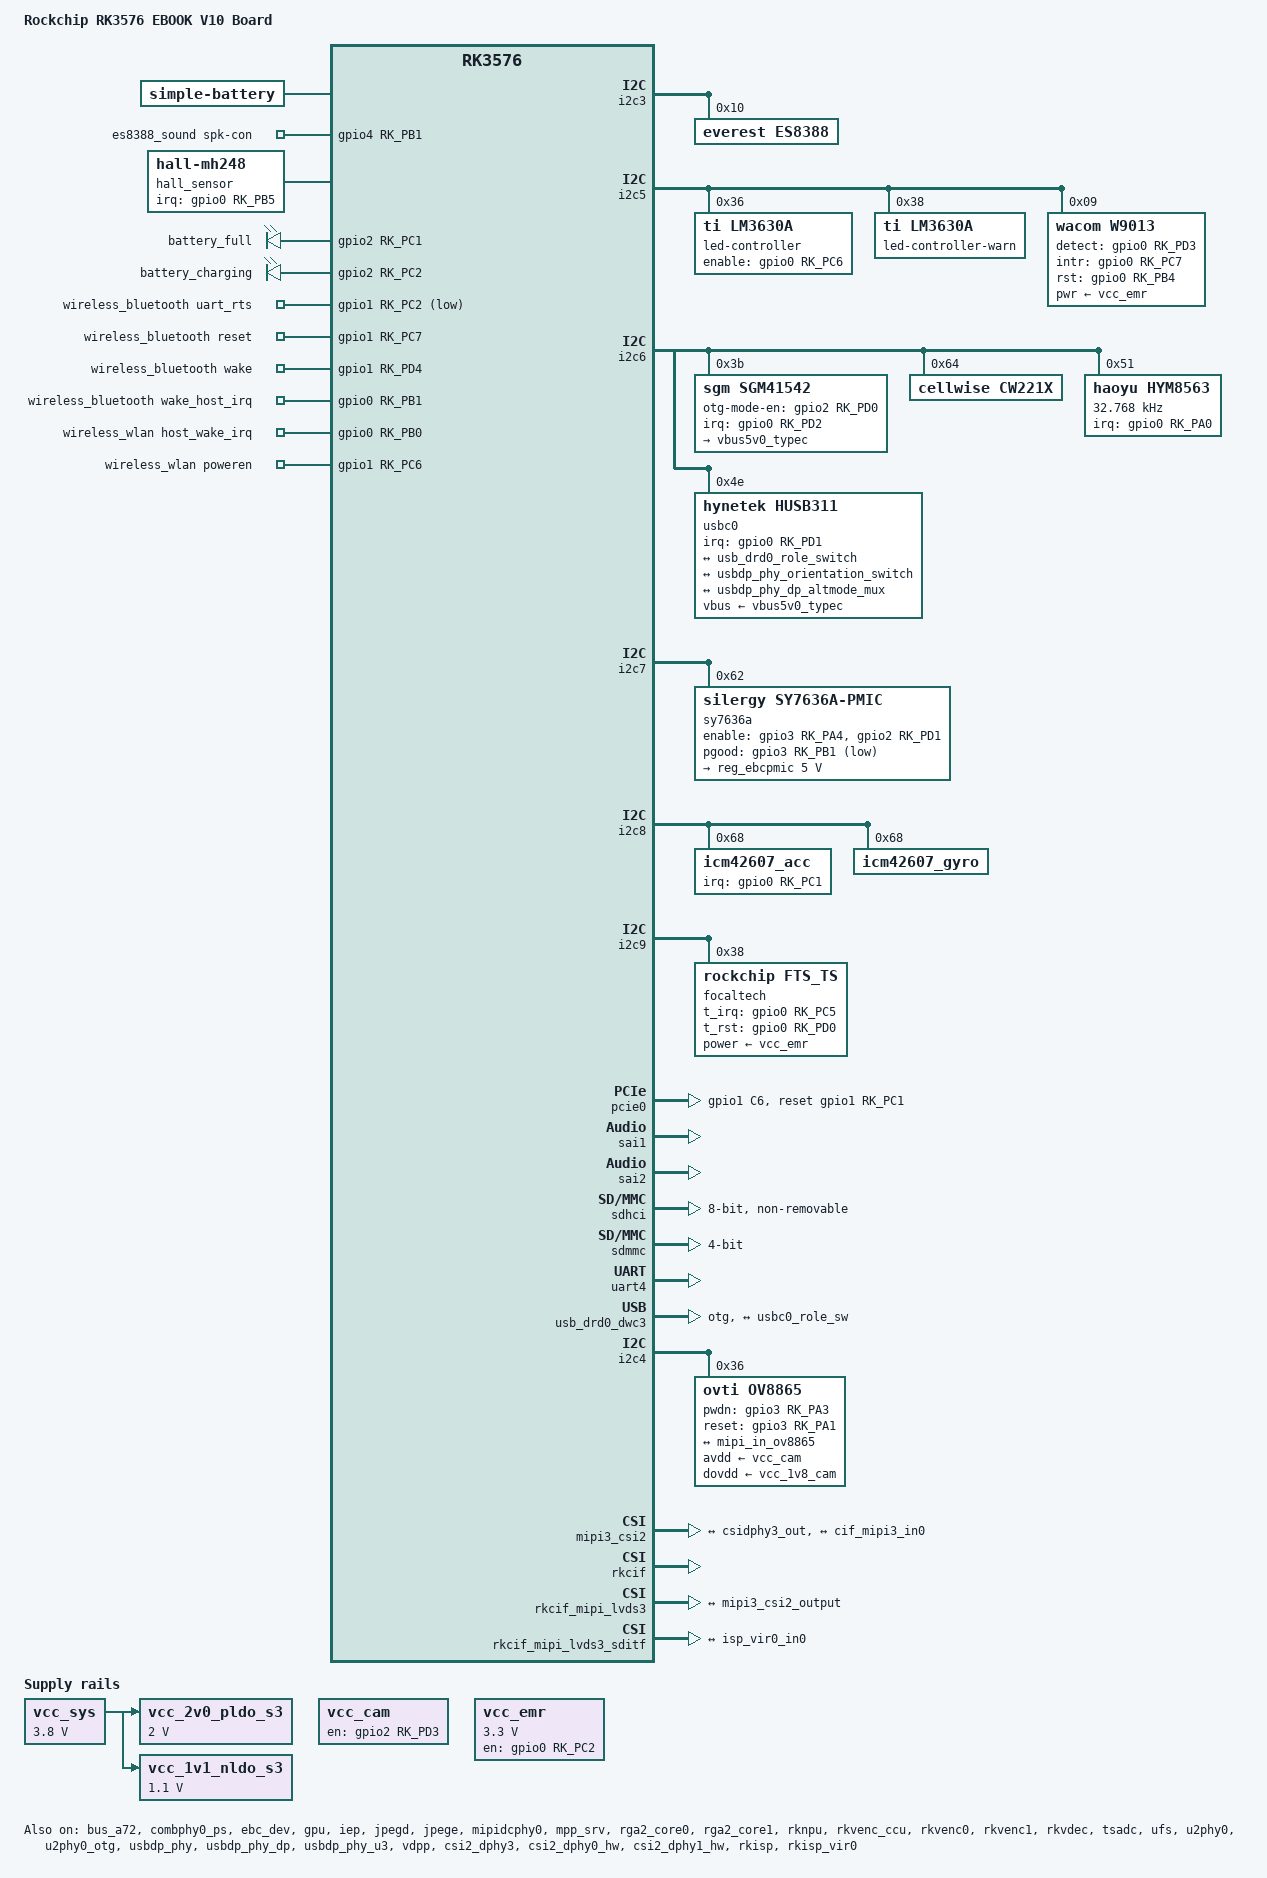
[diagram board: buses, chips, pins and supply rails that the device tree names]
// SPDX-License-Identifier: (GPL-2.0+ OR MIT)
/*
 * Copyright (c) 2024 Rockchip Electronics Co., Ltd.
 *
 */

/dts-v1/;

#include <dt-bindings/gpio/gpio.h>
#include <dt-bindings/pwm/pwm.h>
#include <dt-bindings/pinctrl/rockchip.h>
#include <dt-bindings/input/rk-input.h>
#include <dt-bindings/display/drm_mipi_dsi.h>
#include <dt-bindings/display/rockchip_vop.h>
#include <dt-bindings/sensor-dev.h>
#include <dt-bindings/usb/pd.h>
#include "rk3576.dtsi"
#include "rk3576-android.dtsi"
#include "rk3576-eink.dtsi"

/ {
	model = "Rockchip RK3576 EBOOK V10 Board";
	compatible = "rockchip,rk3576-ebook-v10", "rockchip,rk3576";

	bat: battery {
		compatible = "simple-battery";
		charge-full-design-microamp-hours = <8000000>;
		precharge-current-microamp = <180000>;
		precharge-upper-limit-microvolt = <3600000>;
		charge-term-current-microamp = <300000>;
		constant-charge-current-max-microamp = <10000000>;
		constant-charge-voltage-max-microvolt = <4350000>;
		factory-internal-resistance-micro-ohms = <80>;
		voltage-max-design-microvolt = <4350000>;
		voltage-min-design-microvolt = <3000000>;
	};

	bt_sco: bt-sco {
		status = "okay";
		compatible = "delta,dfbmcs320";
		#sound-dai-cells = <1>;
	};

	bt_sound: bt-sound {
		status = "okay";
		compatible = "simple-audio-card";
		simple-audio-card,format = "dsp_a";
		simple-audio-card,bitclock-inversion;
		simple-audio-card,mclk-fs = <256>;
		simple-audio-card,name = "rockchip,bt";
		simple-audio-card,cpu {
			sound-dai = <&sai2>;
		};
		simple-audio-card,codec {
			sound-dai = <&bt_sco 1>;
		};
	};

	charge-animation {
		compatible = "rockchip,uboot-charge";
		rockchip,uboot-charge-on = <1>;
		rockchip,android-charge-on = <0>;
		rockchip,uboot-low-power-voltage = <3450>;
		rockchip,screen-on-voltage = <3500>;
		rockchip,uboot-exit-charge-level = <2>;
		rockchip,uboot-exit-charge-voltage = <3500>;
		rockchip,uboot-exit-charge-auto = <1>;
		status = "okay";
	};

	charger-manager {
		compatible = "rockchip-charger-manager";
		cm-name = "battery";
		cm-poll-mode = <2>;
		cm-poll-interval = <1000>;

		cm-chargers = "sgm4154x-charger";
		cm-chargers-phandle = <&usbc0>;
		cm-fuel-gauge = "cw221X-bat";
		monitored-battery = <&bat>;
		extcon = <&u2phy0>;
		cm-jeita-temp-charge-table = <0 15 2400000 4400000>, <15 45 10000000 4400000>, <45 60 6000000 4200000>;
	};

	es8388_sound: es8388-sound {
		status = "okay";
		compatible = "rockchip,multicodecs-card";
		rockchip,card-name = "rockchip-es8388";
		rockchip,codec-hp-det;
		spk-con-gpio = <&gpio4 RK_PB1 GPIO_ACTIVE_HIGH>;
		rockchip,format = "i2s";
		rockchip,mclk-fs = <256>;
		rockchip,cpu = <&sai1>;
		rockchip,codec = <&es8388>;
		rockchip,audio-routing =
			"Speaker", "LOUT2",
			"Speaker", "Speaker Power",
			"Speaker", "Speaker Power",
			"LINPUT1", "Main Mic",
			"LINPUT2", "Main Mic",
			"RINPUT1", "Headset Mic",
			"RINPUT2", "Headset Mic";
	};

	hall_sensor: hall-mh248 {
		compatible = "hall-mh248";
		pinctrl-names = "default";
		pinctrl-0 = <&mh248_irq_gpio>;
		irq-gpio = <&gpio0 RK_PB5 IRQ_TYPE_EDGE_BOTH>;
		hall-active = <1>;
		status = "okay";

		//for ebook ultra sleep config
		pmu-gpio-regs-base = <0x27320000>; //gpio0 base
		pmu-gpio-regs-size = <0x200>; //gpio0 register size
		pmu-gpio-int-reg = <0x50>; //gpio int status register
		pmu-gpio-rtc-int-mask = <0x01>; //GPIO0_A0, rtc int
		pmu-gpio-pmic-int-mask = <0x40>; //GPIO0_A6, pmic int
	};

	leds: gpio-leds {
		compatible = "gpio-leds";
		pinctrl-names = "default";
		pinctrl-0 =<&leds_gpio>;

		led@1 {
			gpios = <&gpio2 RK_PC1 GPIO_ACTIVE_HIGH>;
			linux,default-trigger = "cw221X-bat-full";
			label = "battery_full";
			retain-state-suspended;
			default-state = "on";
		};

		led@2 {
			gpios = <&gpio2 RK_PC2 GPIO_ACTIVE_HIGH>;
			linux,default-trigger = "cw221X-bat-charging";
			label = "battery_charging";
			retain-state-suspended;
			default-state = "off";
		};
	};

	vcc_sys: vcc-sys {
		compatible = "regulator-fixed";
		regulator-name = "vcc_sys";
		regulator-always-on;
		regulator-boot-on;
		regulator-min-microvolt = <3800000>;
		regulator-max-microvolt = <3800000>;
	};

	vcc_2v0_pldo_s3: vcc-2v0-pldo-s3 {
		compatible = "regulator-fixed";
		regulator-name = "vcc_2v0_pldo_s3";
		regulator-boot-on;
		regulator-always-on;
		regulator-min-microvolt = <2000000>;
		regulator-max-microvolt = <2000000>;
		vin-supply = <&vcc_sys>;
	};

	vcc_1v1_nldo_s3: vcc-1v1-nldo-s3 {
		compatible = "regulator-fixed";
		regulator-name = "vcc_1v1_nldo_s3";
		regulator-boot-on;
		regulator-always-on;
		regulator-min-microvolt = <1100000>;
		regulator-max-microvolt = <1100000>;
		vin-supply = <&vcc_sys>;
	};

	vcc_cam: vcc-cam {
		compatible = "regulator-fixed";
		enable-active-high;
		gpio = <&gpio2 RK_PD3 GPIO_ACTIVE_HIGH>;
		pinctrl-names = "default";
		pinctrl-0 = <&vcc_cam_en>;
		regulator-name = "vcc_cam";
		regulator-boot-on;
	};

	vcc_emr: vcc-emr {
		compatible = "regulator-fixed";
		enable-active-high;
		gpio = <&gpio0 RK_PC2 GPIO_ACTIVE_HIGH>;
		pinctrl-names = "default";
		pinctrl-0 = <&vcc_emr_en>;
		regulator-name = "vcc_emr";
		regulator-boot-on;
		startup-delay-us = <10000>;
		regulator-min-microvolt = <3300000>;
		regulator-max-microvolt = <3300000>;
	};

	wireless_bluetooth: wireless-bluetooth {
		compatible = "bluetooth-platdata";
		bt_port = "/dev/ttyS4";
		clocks = <&hym8563>;
		clock-names = "ext_clock";
		uart_rts_gpios = <&gpio1 RK_PC2 GPIO_ACTIVE_LOW>;
		pinctrl-names = "default", "rts_gpio";
		pinctrl-0 = <&uart4m1_rtsn>;
		pinctrl-1 = <&uart4_gpios>;
		BT,reset_gpio    = <&gpio1 RK_PC7 GPIO_ACTIVE_HIGH>;
		BT,wake_gpio     = <&gpio1 RK_PD4 GPIO_ACTIVE_HIGH>;
		BT,wake_host_irq = <&gpio0 RK_PB1 GPIO_ACTIVE_HIGH>;
		status = "okay";
	};

	wireless_wlan: wireless-wlan {
		compatible = "wlan-platdata";
		wifi_chip_type = "ap6275p";
		pinctrl-names = "default";
		pinctrl-0 = <&wifi_host_wake_irq>;
		WIFI,host_wake_irq = <&gpio0 RK_PB0 GPIO_ACTIVE_HIGH>;
		WIFI,poweren_gpio = <&gpio1 RK_PC6 GPIO_ACTIVE_HIGH>;
		status = "okay";
	};
};

&bus_a72 {
	bus-supply = <&vdd_logic_s0>;
	pvtm-supply = <&vdd_logic_s0>;
	status = "okay";
};

&combphy0_ps {
	status = "okay";
};

&cpu_l0 {
	cpu-supply = <&vdd_cpu_lit_s0>;
};

&cpu_b0 {
	cpu-supply = <&vdd_cpu_big_s0>;
};

&dp {
	status = "disabled";
};

&dp0_in_vp1 {
	status = "disabled";
};

&ebc_dev {
	pmic = <&sy7636a>;
	status = "okay";

	panel,width = <1872>;
	panel,height = <1404>;
	panel,vir_width = <1872>;
	panel,vir_height = <1404>;
	panel,sdck = <34000000>;
	panel,lsl = <18>;
	panel,lbl = <17>;
	panel,ldl = <234>;
	panel,lel = <7>;
	panel,gdck-sta = <34>;
	panel,lgonl = <192>;
	panel,fsl = <1>;
	panel,fbl = <4>;
	panel,fdl = <1404>;
	panel,fel = <12>;
	panel,mirror = <1>;
	panel,panel_16bit = <1>;
	panel,panel_color = <0>;
	panel,width-mm = <157>;
	panel,height-mm = <210>;
};

&gpu {
	mali-supply = <&vdd_gpu_s0>;
	status = "okay";
};

&i2c3 {
	status = "okay";
	pinctrl-names = "default";

	es8388: es8388@10 {
		status = "okay";
		#sound-dai-cells = <0>;
		compatible = "everest,es8388", "everest,es8323";
		reg = <0x10>;
		clocks = <&mclkout_sai1>;
		clock-names = "mclk";
		assigned-clocks = <&mclkout_sai1>;
		assigned-clock-rates = <12288000>;
		pinctrl-names = "default";
		pinctrl-0 = <&sai1m0_mclk>;
	};

	aw882xx_smartpa_0: aw882xx@34 {
		compatible = "awinic,aw882xx_smartpa";
		#sound-dai-cells = <0>;
		reg = <0x34>;
		/* reset-gpio = <&pio 89 0x0>; */
		/* irq-gpio = <&pio 37 0x0>; */
		sound-channel = <0>; /*0:pri_l 1:pri_r 2:sec_l 3:sec_r*/
		monitor-mode = "hal_momitor";
		aw-re-min = <4000>;
		aw-re-max= <30000>;
		/*aw-cali-mode = "none";*/
		status = "disabled";
	};

	aw882xx_smartpa_1: aw882xx@35 {
		compatible = "awinic,aw882xx_smartpa";
		#sound-dai-cells = <0>;
		reg = <0x35>;
		/* reset-gpio = <&pio 17 0x0>; */
		/* irq-gpio = <&pio 19 0x0>; */
		sound-channel = <1>; /*0:pri_l 1:pri_r 2:sec_l 3:sec_r*/
		monitor-mode = "hal_momitor";
		aw-re-min = <4000>;
		aw-re-max= <30000>;
		/*aw-cali-mode = "none";*/
		status = "disabled";
	};
};

&i2c5 {
	status = "okay";
	pinctrl-names = "default";
	pinctrl-0 = <&i2c5m2_xfer>;

	led-controller@36 {
		compatible = "ti,lm3630a";
		reg = <0x36>;
		enable-gpios = <&gpio0 RK_PC6 GPIO_ACTIVE_HIGH>;
		pinctrl-0 = <&backlight_hwen_h>;
		pinctrl-names = "default";
		/*pwm-names = "lm3630a-pwm";*/
		/*pwms = <&pwm0_2ch_1 0 25000 0>;*/
		#address-cells = <1>;
		#size-cells = <0>;

		led@0 {
			reg = <0>;
			label = "backlight";
			default-brightness = <150>;
		};
	};

	led-controller-warn@38 {
		compatible = "ti,lm3630a";
		reg = <0x38>;
		/*enable-gpios = <&gpio0 RK_PC6 GPIO_ACTIVE_HIGH>;*/
		/*pinctrl-0 = <&backlight_hwen_h>;*/
		/*pinctrl-names = "default";*/
		/*pwm-names = "lm3630a-pwm";*/
		/*pwms = <&pwm0_2ch_1 0 25000 0>;*/
		#address-cells = <1>;
		#size-cells = <0>;

		led@0 {
			reg = <0>;
			label = "backlight_warm";
			default-brightness = <150>;
		};
	};

	wacom: wacom@9 {
		compatible = "wacom,w9013";
		reg = <0x09>;
		pwr-supply = <&vcc_emr>;
		pinctrl-names = "default";
		pinctrl-0 = <&wacom_gpio>;
		gpio_detect = <&gpio0 RK_PD3 GPIO_ACTIVE_HIGH>;
		gpio_intr = <&gpio0 RK_PC7 GPIO_ACTIVE_HIGH>;
		gpio_rst = <&gpio0 RK_PB4 GPIO_ACTIVE_HIGH>;
		revert_x = <1>;
		revert_y = <1>;
		xy_exchange = <0>;
	};
};

&i2c6 {
	status = "okay";
	pinctrl-names = "default";
	pinctrl-0 = <&i2c6m3_xfer>;

	sgm41542: sgm41542@3b {
		compatible = "sgm,sgm41542";
		reg = <0x3b>;
		pinctrl-names = "default";
		pinctrl-0 = <&charger_ok>;
		interrupt-parent = <&gpio0>;
		interrupts = <RK_PD2 IRQ_TYPE_EDGE_FALLING>;
		otg-mode-en-gpios = <&gpio2 RK_PD0 GPIO_ACTIVE_HIGH>;
		input-voltage-limit-microvolt = <4500000>;
		input-current-limit-microamp = <3000000>;
		monitored-battery = <&bat>;
		regulators {
			vbus5v0_typec: vbus5v0-typec {
				regulator-compatible = "otg-vbus";
				regulator-name = "vbus5v0_typec";
			};
		};
	};

	cw221X@64 {
		compatible = "cellwise,cw221X";
		reg = <0x64>;
		status = "okay";
		cw,user_rsense = <2000>;
	};

	hym8563: hym8563@51 {
		compatible = "haoyu,hym8563";
		reg = <0x51>;
		#clock-cells = <0>;
		clock-frequency = <32768>;
		clock-output-names = "hym8563";
		pinctrl-names = "default";
		pinctrl-0 = <&rtc_int>;

		interrupt-parent = <&gpio0>;
		interrupts = <RK_PA0 IRQ_TYPE_LEVEL_LOW>;
		wakeup-source;
		status = "okay";
	};

	usbc0: husb311@4e {
		compatible = "hynetek,husb311";
		reg = <0x4e>;
		interrupt-parent = <&gpio0>;
		interrupts = <RK_PD1 IRQ_TYPE_LEVEL_LOW>;
		pinctrl-names = "default";
		pinctrl-0 = <&usbc0_int>;
		vbus-supply = <&vbus5v0_typec>;
		status = "okay";

		port {
			usbc0_role_sw: endpoint {
				remote-endpoint = <&usb_drd0_role_switch>;
			};
		};

		usb_con: connector {
			compatible = "usb-c-connector";
			label = "USB-C";
			data-role = "dual";
			power-role = "dual";
			try-power-role = "sink";
			op-sink-microwatt = <1000000>;
			sink-pdos =
				<PDO_FIXED(5000, 3000, PDO_FIXED_USB_COMM)
				 PDO_FIXED(9000, 3000, PDO_FIXED_USB_COMM)
				 PDO_FIXED(12000, 3000, PDO_FIXED_USB_COMM)>;
			source-pdos =
				<PDO_FIXED(5000, 3000, PDO_FIXED_USB_COMM)>;

			altmodes {
				#address-cells = <1>;
				#size-cells = <0>;

				altmode@0 {
					reg = <0>;
					svid = <0xff01>;
					vdo = <0xffffffff>;
				};
			};

			ports {
				#address-cells = <1>;
				#size-cells = <0>;

				port@0 {
					reg = <0>;
					usbc0_orien_sw: endpoint {
						remote-endpoint = <&usbdp_phy_orientation_switch>;
					};
				};

				port@1 {
					reg = <1>;
					dp_altmode_mux: endpoint {
						remote-endpoint = <&usbdp_phy_dp_altmode_mux>;
					};
				};
			};
		};
	};
};

&i2c7 {
	status = "okay";
	pinctrl-names = "default";
	pinctrl-0 = <&i2c7m2_xfer>;

	fp9931: fp9931@18 {
		compatible = "fitipower,fp9931-pmic";
		reg = <0x18>;
		status = "disabled";

		pinctrl-names = "default";
		pinctrl-0 = <&fp9931_default>;

		/* fp9931 EN_TS(pin15) and external power control pin */
		power-gpios = <&gpio3 RK_PB0 GPIO_ACTIVE_HIGH>, <&gpio3 RK_PB2 GPIO_ACTIVE_HIGH>;
		/* fp9931 EN(pin16) */
		enable-gpios = <&gpio3 RK_PA4 GPIO_ACTIVE_HIGH>;

		thermal-zone = "fp9931-pmic-thermal";
		#thermal-sensor-cells = <0>;

		regulators {
			compatible = "fp9931-regulator";
			fp9931_vcom: vcom {
				regulator-name = "vcom";
				regulator-min-microvolt = <19608>; /* (1/255)V */
				regulator-max-microvolt = <5000000>;
				regulator-boot-on;
				regulator-state-mem {
					regulator-off-in-suspend;
				};
			};

			fp9931_vpos_vneg: vpos_vneg {
				regulator-name = "vpos_vneg";
				regulator-init-microvolt = <15060000>;
				regulator-boot-on;
				regulator-state-mem {
					regulator-off-in-suspend;
				};
			};
		};

		fp9931_thermal: fp9931_thermal {
			compatible = "fp9931-thermal";
		};
	};

	sy7636a: sy7636a@62 {
		compatible = "silergy,sy7636a-pmic";
		reg = <0x62>;
		status = "okay";

		pinctrl-names = "default";
		pinctrl-0 = <&sy7636a_default>;

		enable-gpios = <&gpio3 RK_PA4 GPIO_ACTIVE_HIGH>, <&gpio2 RK_PD1 GPIO_ACTIVE_HIGH>;
		pgood-gpio = <&gpio3 RK_PB1 GPIO_ACTIVE_LOW>;

		thermal-zone = "ebcpmic-thermal";
		#thermal-sensor-cells = <0>;

		regulators {
			compatible = "sy7636a-regulator";
			reg_ebcpmic: vcom {
				regulator-name = "vcom";
				regulator-min-microvolt = <0>;
				regulator-max-microvolt = <5000000>;
				regulator-boot-on;
				regulator-state-mem {
					regulator-off-in-suspend;
				};
			};
		};

		sy7636a_thermal: sy7636a_thermal {
			compatible = "sy7636a-thermal";
		};
	};
};

&i2c8 {
	status = "okay";
	pinctrl-names = "default";
	pinctrl-0 = <&i2c8m2_xfer>;

	icm42607_acc: icm_acc@68 {
		status = "okay";
		compatible = "icm42607_acc";
		reg = <0x68>;
		irq-gpio = <&gpio0 RK_PC1 IRQ_TYPE_EDGE_RISING>;
		irq_enable = <0>;
		poll_delay_ms = <30>;
		type = <SENSOR_TYPE_ACCEL>;
		layout = <6>;
	};

	icm42607_gyro: icm_gyro@68 {
		status = "okay";
		compatible = "icm42607_gyro";
		reg = <0x68>;
		poll_delay_ms = <30>;
		type = <SENSOR_TYPE_GYROSCOPE>;
		layout = <6>;
	};
};

&i2c9 {
	status = "okay";
	pinctrl-names = "default";
	pinctrl-0 = <&i2c9m2_xfer>;

	focaltech: focaltech@38 {
		status = "okay";
		compatible = "rockchip,fts_ts";
		reg = <0x38>;
		power-supply = <&vcc_emr>;
		pinctrl-names = "default";
		pinctrl-0 = <&touch_gpio>;
		t_irq_gpio = <&gpio0 RK_PC5 IRQ_TYPE_LEVEL_LOW>;
		t_rst_gpio = <&gpio0 RK_PD0 GPIO_ACTIVE_HIGH>;
		focaltech,display-coords =  <0 0 1404 1872>;
		focaltech,have-key;
		focaltech,key-number = <1>;
		focaltech,keys = <158>;
		focaltech,key-x-coords = <2000>;
		focaltech,key-y-coords = <2000>;
	};

	tsc@24 {
		status = "disabled";
		compatible = "parade,pt_i2c_adapter";
		reg = <0x24>;
		interrupt-parent = <&gpio0>;
		interrupts = <RK_PC5 IRQ_TYPE_LEVEL_LOW>;
		parade,adapter_id = "pt_i2c_adapter";
		pinctrl-names = "default";
		pinctrl-0 = <&touch_gpio>;

		parade,core {
			parade,name = "pt_core";

			parade,irq_gpio = <&gpio0 RK_PC5 GPIO_ACTIVE_HIGH>;
			parade,rst_gpio = <&gpio0 RK_PD0 GPIO_ACTIVE_HIGH>;
			/*parade,runfw_gpio = <64>;*/
			parade,hid_desc_register = <1>;
			/*
			 * PT_CORE_FLAG_NONE = 0x00
			 * PT_CORE_FLAG_POWEROFF_ON_SLEEP = 0x02
			 * PT_CORE_FLAG_RESTORE_PARAMETERS = 0x04
			 * PT_CORE_FLAG_DEEP_STANDBY = 0x08
			 * PT_CORE_FLAG_SKIP_SYS_SLEEP = 0x10
			 * PT_CORE_FLAG_SKIP_RUNTIME = 0x20
			 * PT_CORE_FLAG_SKIP_RESUME = 0x40
			 */
			parade,flags = <4>;
			/* PT_CORE_EWG_NONE */
			parade,easy_wakeup_gesture = <0>;
			/* 0:AUTO 1:PIP1_ONLY 2:PIP2_CAPABLE*/
			parade,config_dut_generation = <2>;
			/* 0:False 1:True*/
			parade,watchdog_force_stop = <0>;
			/*
			 * PT_PANEL_ID_DISABLE = 0x00
			 * PT_PANEL_ID_BY_BL = 0x01
			 * PT_PANEL_ID_BY_SYS_INFO = 0x02
			 * PT_PANEL_ID_BY_MFG_DATA  = 0x04
			 */
			parade,panel_id_support = <0>;
			parade,btn_keys = <172 /* KEY_HOMEPAGE */
				/* previously was KEY_HOME, new Android versions use KEY_HOMEPAGE */
				139 /* KEY_MENU */
				158 /* KEY_BACK */
				217 /* KEY_SEARCH */
				114 /* KEY_VOLUMEDOWN */
				115 /* KEY_VOLUMEUP */
				212 /* KEY_CAMERA */
				116>; /* KEY_POWER */
			parade,btn_keys-tag = <0>;

			parade,mt {
				parade,name = "pt_mt";

				parade,inp_dev_name = "pt_mt";
				/*
				 * PT_MT_FLAG_NONE = 0x00
				 * PT_MT_FLAG_FLIP = 0x08
				 * PT_MT_FLAG_INV_X = 0x10
				 * PT_MT_FLAG_INV_Y = 0x20
				 * PT_MT_FLAG_VKEYS = 0x40
				 */
				parade,flags = <0x20>;
				parade,abs =
					/* ABS_MT_POSITION_X, PT_ABS_MIN_X, PT_ABS_MAX_X, 0, 0 */
					<0x35 0 880 0 0
					/* ABS_MT_POSITION_Y, PT_ABS_MIN_Y, PT_ABS_MAX_Y, 0, 0 */
					0x36 0 1280 0 0
					/* ABS_MT_PRESSURE, PT_ABS_MIN_P, PT_ABS_MAX_P, 0, 0 */
					0x3a 0 255 0 0
					/* PT_IGNORE_VALUE, PT_ABS_MIN_W, PT_ABS_MAX_W, 0, 0 */
					0xffff 0 255 0 0
					/* ABS_MT_TRACKING_ID, PT_ABS_MIN_T, PT_ABS_MAX_T, 0, 0 */
					0x39 0 15 0 0
					/* ABS_MT_TOUCH_MAJOR, 0, 255, 0, 0 */
					0x30 0 255 0 0
					/* ABS_MT_TOUCH_MINOR, 0, 255, 0, 0 */
					0x31 0 255 0 0
					/* ABS_MT_ORIENTATION, -127, 127, 0, 0 */
					0x34 0xffffff81 127 0 0
					/* ABS_MT_TOOL_TYPE, 0, MT_TOOL_MAX, 0, 0 */
					0x37 0 1 0 0
					/* ABS_DISTANCE, 0, 255, 0, 0 */
					0x19 0 255 0 0>;

				parade,vkeys_x = <720>;
				parade,vkeys_y = <1280>;

				parade,virtual_keys = /* KeyCode CenterX CenterY Width Height */
					/* KEY_BACK */
					<158 90 1360 160 180
					/* KEY_MENU */
					139 270 1360 160 180
					/* KEY_HOMEPAGE */
					172 450 1360 160 180
					/* KEY SEARCH */
					217 630 1360 160 180>;
			};
		};
	};
};

&iep {
	status = "okay";
};

&iep_mmu {
	status = "okay";
};

&jpegd {
	status = "okay";
};

&jpege {
	status = "okay";
};

&jpeg_mmu {
	status = "okay";
};

&mipidcphy0 {
	status = "okay";
};

&mpp_srv {
	status = "okay";
};

&pcie0 {
	reset-gpios = <&gpio1 RK_PC1 GPIO_ACTIVE_HIGH>;
	rockchip,skip-scan-in-resume;
	rockchip,s2r-perst-inactive-ms = <1>;
	pinctrl-names = "default";
	pinctrl-0 = <&wifi_poweren_gpio>;
	status = "okay";
};

&pinctrl {
	backlight {
		backlight_hwen_h: backlight-hwen-h {
			rockchip,pins = <0 RK_PC6 RK_FUNC_GPIO &pcfg_pull_none>;
		};
	};

	camera {
		vcc_cam_en: vcc-cam-en {
			rockchip,pins = <2 RK_PD3 RK_FUNC_GPIO &pcfg_pull_none>;
		};
	};

	charger {
		charger_ok: charger_ok {
			rockchip,pins =
					<0 RK_PD2 RK_FUNC_GPIO &pcfg_pull_up>,
					<2 RK_PD0 RK_FUNC_GPIO &pcfg_pull_up>;
		};
	};

	fp9931 {
		fp9931_default: fp9931-default {
			rockchip,pins =
					<3 RK_PA4 RK_FUNC_GPIO &pcfg_pull_none>,
					<3 RK_PB1 RK_FUNC_GPIO &pcfg_pull_none>,
					<3 RK_PB2 RK_FUNC_GPIO &pcfg_pull_none>;
		};
	};

	hall {
		mh248_irq_gpio: mh248-irq-gpio {
			rockchip,pins = <0 RK_PB5 RK_FUNC_GPIO &pcfg_pull_up>;
		};
	};

	led {
		leds_gpio: leds-gpio {
			rockchip,pins =
					<2 RK_PC1 RK_FUNC_GPIO &pcfg_pull_up>,
					<2 RK_PC2 RK_FUNC_GPIO &pcfg_pull_up>;
		};
	};

	rtc {
		rtc_int: rtc-int {
			rockchip,pins = <0 RK_PA0 RK_FUNC_GPIO &pcfg_pull_up>;
		};
	};

	sy7636a {
		sy7636a_default: sy7636a_default {
			rockchip,pins =
					<3 RK_PA4 RK_FUNC_GPIO &pcfg_pull_up>,
					<2 RK_PD1 RK_FUNC_GPIO &pcfg_pull_up>,
					<3 RK_PB1 RK_FUNC_GPIO &pcfg_pull_none>;
		};
	};

	touch {
		touch_gpio: touch-gpio {
			rockchip,pins =
					<0 RK_PC5 RK_FUNC_GPIO &pcfg_pull_up>,
					<0 RK_PD0 RK_FUNC_GPIO &pcfg_pull_up>;
		};
	};

	touch-pen {
		wacom_gpio: wacom-gpio {
			rockchip,pins =
					<0 RK_PB4 RK_FUNC_GPIO &pcfg_pull_none>,
					<0 RK_PC7 RK_FUNC_GPIO &pcfg_pull_up>,
					<0 RK_PD3 RK_FUNC_GPIO &pcfg_pull_up>;
		};

		vcc_emr_en: vcc-emr-en {
			rockchip,pins = <0 RK_PC2 RK_FUNC_GPIO &pcfg_pull_none>;
		};
	};

	usb {
		usbc0_int: usbc0-int {
			rockchip,pins = <0 RK_PD1 RK_FUNC_GPIO &pcfg_pull_up>;
		};
	};

	wireless-bluetooth {
		uart4_gpios: uart4-gpios {
			rockchip,pins = <1 RK_PC2 RK_FUNC_GPIO &pcfg_pull_none>;
		};
	};

	wireless-wlan {
		wifi_host_wake_irq: wifi-host-wake-irq {
			rockchip,pins = <0 RK_PB0 RK_FUNC_GPIO &pcfg_pull_down>;
		};

		wifi_poweren_gpio: wifi-poweren-gpio {
			rockchip,pins = <1 RK_PC6 RK_FUNC_GPIO &pcfg_pull_up>;
		};
	};
};

&rga2_core0 {
	status = "okay";
};

&rga2_core0_mmu {
	status = "okay";
};

&rga2_core1 {
	status = "okay";
};

&rga2_core1_mmu {
	status = "okay";
};

&rknpu {
	rknpu-supply = <&vdd_npu_s0>;
	status = "okay";
};

&rknpu_mmu {
	status = "okay";
};

&rkvenc_ccu {
	status = "okay";
};

&rkvenc0 {
	status = "okay";
};

&rkvenc0_mmu {
	status = "okay";
};

&rkvenc1 {
	status = "okay";
};

&rkvenc1_mmu {
	status = "okay";

};

&rkvdec {
	status = "okay";
};

&rkvdec_mmu {
	status = "okay";
};

&sai1 {
	status = "okay";
	pinctrl-names = "default";
	pinctrl-0 = <&sai1m0_lrck
		     &sai1m0_sclk
		     &sai1m0_sdi0
		     &sai1m0_sdo0>;
};

&sai2 {
	status = "okay";
};

&sdhci {
	bus-width = <8>;
	no-sdio;
	no-sd;
	non-removable;
	max-frequency = <200000000>;
	mmc-hs400-1_8v;
	mmc-hs400-enhanced-strobe;
	full-pwr-cycle-in-suspend;
	status = "okay";
};

&sdmmc {
	max-frequency = <200000000>;
	no-sdio;
	no-mmc;
	bus-width = <4>;
	cap-mmc-highspeed;
	cap-sd-highspeed;
	disable-wp;
	sd-uhs-sdr104;
	vqmmc-supply = <&vccio_sd_s0>;
	status = "okay";
};

&thermal_zones {
	ebcpmic_thermal: ebcpmic-thermal {
		polling-delay = <0>;
		polling-delay-passive = <0>;
		thermal-sensors = <&sy7636a>;

		trips {
			sy7636a_dummy_trip: sy7636a-dummy-trip {
				temperature = <100000>;
				hysteresis = <0>;
				type = "hot";
			};
		};
	};

	fp9931_pmic_thermal: fp9931-pmic-thermal {
		polling-delay = <0>;
		polling-delay-passive = <0>;
		thermal-sensors = <&fp9931>;

		trips {
			fp9931_dummy_trip: fp9931-dummy-trip {
				temperature = <100000>;
				hysteresis = <0>;
				type = "hot";
			};
		};
	};
};

&tsadc {
	status = "okay";
};

&uart4 {
	status = "okay";
	pinctrl-names = "default";
	pinctrl-0 = <&uart4m1_xfer &uart4m1_ctsn>;
};

&ufs {
	reset-gpios = <&gpio4 RK_PD0 GPIO_ACTIVE_HIGH>;
	status = "okay";
};

&u2phy0 {
	status = "okay";
};

&u2phy0_otg {
	status = "okay";
	rockchip,typec-vbus-det;
};

&u2phy1 {
	status = "disabled";
};

&u2phy1_otg {
	status = "disabled";
};

&usbdp_phy {
	status = "okay";
	orientation-switch;
	svid = <0xff01>;
	sbu1-dc-gpios = <&gpio4 RK_PC4 GPIO_ACTIVE_HIGH>;
	sbu2-dc-gpios = <&gpio4 RK_PC5 GPIO_ACTIVE_HIGH>;

	port {
		#address-cells = <1>;
		#size-cells = <0>;

		usbdp_phy_orientation_switch: endpoint@0 {
			reg = <0>;
			remote-endpoint = <&usbc0_orien_sw>;
		};

		usbdp_phy_dp_altmode_mux: endpoint@1 {
			reg = <1>;
			remote-endpoint = <&dp_altmode_mux>;
		};
	};
};

&usbdp_phy_dp {
	status = "okay";
};

&usbdp_phy_u3 {
	status = "okay";
};

&usb_drd0_dwc3 {
	status = "okay";
	dr_mode = "otg";
	usb-role-switch;
	port {
		usb_drd0_role_switch: endpoint {
			remote-endpoint = <&usbc0_role_sw>;
		};
	};
};

&usb_drd1_dwc3 {
	status = "disabled";
};

&vdpp {
	status = "okay";
};

&csi2_dphy3 {
	status = "okay";

	ports {
		#address-cells = <1>;
		#size-cells = <0>;
		port@0 {
			reg = <0>;
			#address-cells = <1>;
			#size-cells = <0>;

			mipi_in_ov8865: endpoint@1 {
				reg = <1>;
				remote-endpoint = <&ov8865_out0>;
				data-lanes = <1 2 3 4>;
			};
		};
		port@1 {
			reg = <1>;
			#address-cells = <1>;
			#size-cells = <0>;

			csidphy3_out: endpoint@0 {
				reg = <0>;
				remote-endpoint = <&mipi3_csi2_input>;
			};
		};
	};
};

&csi2_dphy0_hw {
	status = "okay";
};

&csi2_dphy1_hw {
	status = "okay";
};

&i2c4 {
	status = "okay";
	pinctrl-names = "default";
	pinctrl-0 = <&i2c4m2_xfer>;

	ov8865: ov8865@36 {
		compatible = "ovti,ov8865";
		reg = <0x36>;
		status = "okay";

		clocks = <&cru CLK_MIPI_CAMERAOUT_M1>;
		clock-names = "xvclk";
		pinctrl-names = "default";
		pinctrl-0 = <&cam_clk1m1_clk1>;
		power-domains = <&power RK3576_PD_VI>;
		avdd-supply = <&vcc_cam>;
		dovdd-supply = <&vcc_1v8_cam>;
		//dvdd-supply = <&vcc1v2_dvp>;
		pwdn-gpios = <&gpio3 RK_PA3 GPIO_ACTIVE_HIGH>;
		reset-gpios = <&gpio3 RK_PA1 GPIO_ACTIVE_HIGH>;
		rockchip,camera-module-index = <0>;
		rockchip,camera-module-facing = "back";
		rockchip,camera-module-name = "default";
		rockchip,camera-module-lens-name = "default";

		port {
			ov8865_out0: endpoint {
				remote-endpoint = <&mipi_in_ov8865>;
				data-lanes = <1 2 3 4>;
			};
		};
	};
};

&mipi3_csi2 {
	status = "okay";

	ports {
		#address-cells = <1>;
		#size-cells = <0>;

		port@0 {
			reg = <0>;
			#address-cells = <1>;
			#size-cells = <0>;

			mipi3_csi2_input: endpoint@1 {
				reg = <1>;
				remote-endpoint = <&csidphy3_out>;
			};
		};

		port@1 {
			reg = <1>;
			#address-cells = <1>;
			#size-cells = <0>;

			mipi3_csi2_output: endpoint@0 {
				reg = <0>;
				remote-endpoint = <&cif_mipi3_in0>;
			};
		};
	};
};

&rkcif {
	status = "okay";
};

&rkcif_mipi_lvds3 {
	status = "okay";

	port {
		cif_mipi3_in0: endpoint {
			remote-endpoint = <&mipi3_csi2_output>;
		};
	};
};

&rkcif_mipi_lvds3_sditf {
	status = "okay";

	port {
		mipi_lvds3_sditf: endpoint {
			remote-endpoint = <&isp_vir0_in0>;
		};
	};
};

&rkcif_mmu {
	status = "okay";
};

&rkisp {
	status = "okay";
};

&rkisp_mmu {
	status = "okay";
};

&rkisp_vir0 {
	status = "okay";

	port {
		#address-cells = <1>;
		#size-cells = <0>;

		isp_vir0_in0: endpoint@0 {
			reg = <0>;
			remote-endpoint = <&mipi_lvds3_sditf>;
		};
	};
};
